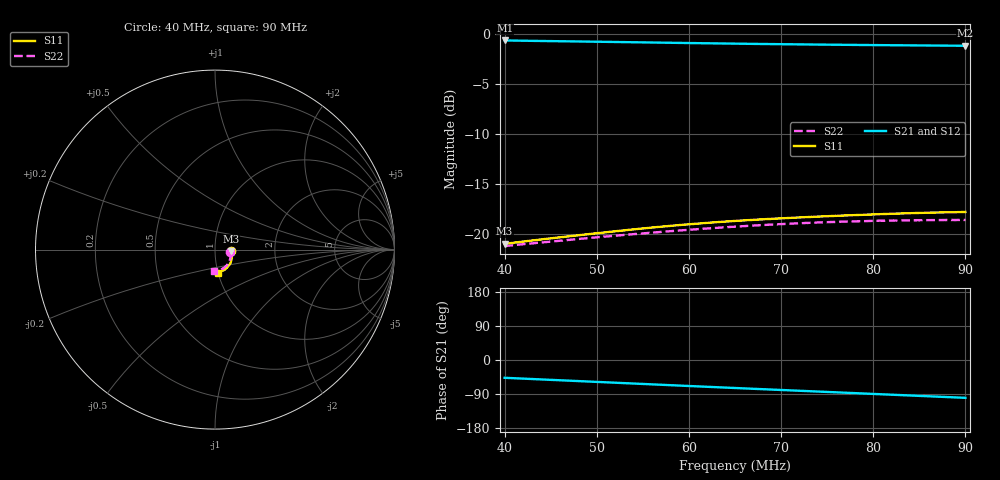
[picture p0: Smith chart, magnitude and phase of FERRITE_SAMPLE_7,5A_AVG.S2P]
!Agilent Technologies,E5061B,MY49102235,A.02.00
!Date: Mon Jul 03 11:00:23 2023
!Data & Calibration Information:
!Freq	S11:SOLT2(ON)	S21:SOLT2(ON)	S12:SOLT2(ON)	S22:SOLT2(ON)
# Hz S RI R 50
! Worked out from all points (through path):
!   1600 points, 40 MHz to 90 MHz, reference 50 ohm
!   highest |S21| = -0.62 dB at 40.03 MHz (marker M1); lowest = -1.2 dB at 90 MHz (marker M2)
!   group delay of S21, straight-line fit = 2.93 ns
!   lowest |S11| = -21.0 dB at 40 MHz (marker M3), VSWR 1.20, Z = 59.7 - j1.21 ohm
!   |S11| at or under -10 dB: start of sweep to end of sweep
!   |S22| runs from -21.2 to -18.6 dB; largest |S21 - S12| = 0.001
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4e7  0.0887 -0.01  0.6352 -0.6801  0.6354 -0.6792  0.0857 -0.0145
4.003127e7  0.0887 -0.0102  0.6349 -0.6804  0.635 -0.6794  0.0857 -0.0146
4.087555e7  0.0895 -0.0123  0.6229 -0.6897  0.6233 -0.6888  0.0861 -0.0169
4.450281e7  0.092 -0.0221  0.5708 -0.7269  0.5709 -0.7265  0.0871 -0.0269
4.834897e7  0.0933 -0.0331  0.5134 -0.7624  0.5136 -0.762  0.0869 -0.0377
5.053784e7  0.0934 -0.0397  0.4797 -0.7807  0.4801 -0.7801  0.0861 -0.044
5.26329e7  0.0931 -0.046  0.4471 -0.7967  0.4473 -0.7962  0.0849 -0.0499
5.482176e7  0.0924 -0.0527  0.4124 -0.8116  0.4128 -0.8114  0.0832 -0.0563
5.666667e7  0.0913 -0.0584  0.383 -0.823  0.3833 -0.8228  0.0814 -0.0615
5.873046e7  0.0896 -0.0646  0.3501 -0.8348  0.3502 -0.8344  0.0789 -0.0675
6.06379e7  0.0878 -0.0704  0.3193 -0.8442  0.3195 -0.8438  0.0762 -0.0729
6.273296e7  0.085 -0.0764  0.2856 -0.8534  0.2858 -0.8531  0.0726 -0.0787
6.501563e7  0.0814 -0.0829  0.2486 -0.8619  0.2488 -0.8615  0.0681 -0.0849
6.901814e7  0.0738 -0.0935  0.184 -0.8733  0.1843 -0.8728  0.0588 -0.0948
7.126954e7  0.0688 -0.0989  0.1477 -0.8778  0.1479 -0.8772  0.0527 -0.0996
7.33646e7  0.0637 -0.1039  0.1139 -0.8809  0.1142 -0.8802  0.0466 -0.1038
7.746091e7  0.0529 -0.1122  0.0481 -0.8831  0.0484 -0.8825  0.0341 -0.1104
8.16823e7  0.0403 -0.1194  -0.0194 -0.8808  -0.0189 -0.8806  0.0203 -0.1149
8.349593e7  0.0347 -0.1219  -0.0482 -0.8784  -0.0477 -0.8781  0.0142 -0.1162
8.596623e7  0.027 -0.1249  -0.087 -0.8737  -0.0866 -0.8736  0.00601 -0.1172
8.971857e7  0.0149 -0.1279  -0.145 -0.8637  -0.145 -0.8635  -0.00667 -0.1174
9e7  0.014 -0.128  -0.1493 -0.8627  -0.1493 -0.8627  -0.00761 -0.1173
